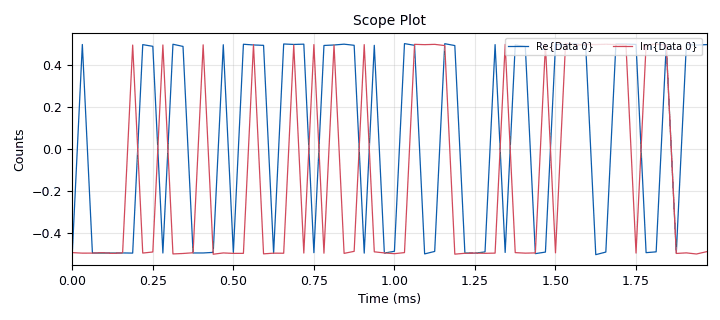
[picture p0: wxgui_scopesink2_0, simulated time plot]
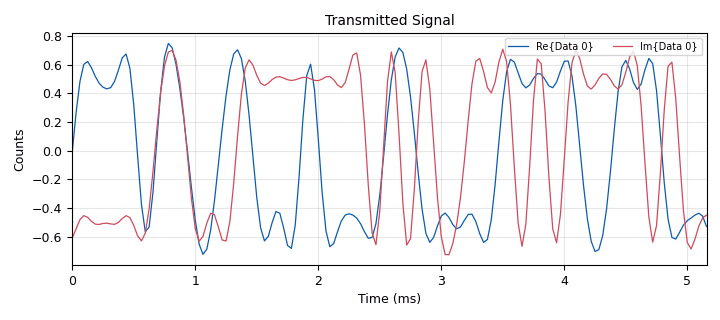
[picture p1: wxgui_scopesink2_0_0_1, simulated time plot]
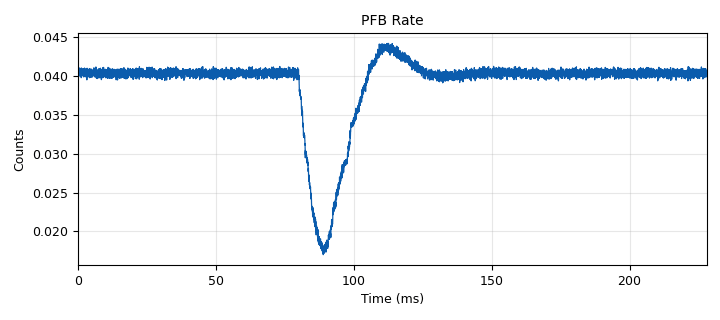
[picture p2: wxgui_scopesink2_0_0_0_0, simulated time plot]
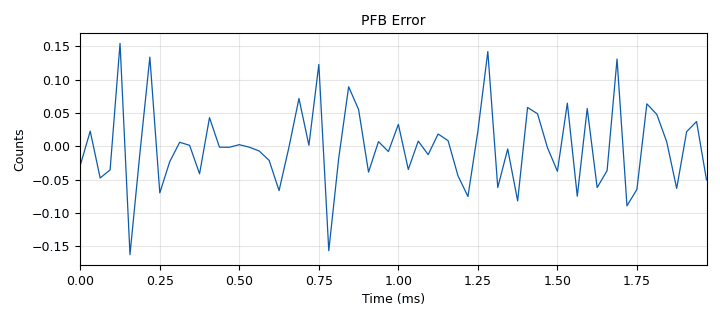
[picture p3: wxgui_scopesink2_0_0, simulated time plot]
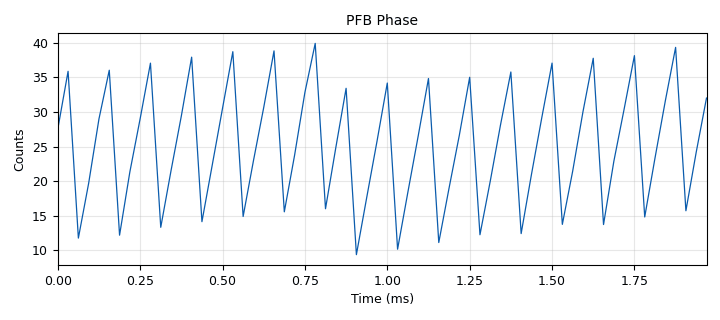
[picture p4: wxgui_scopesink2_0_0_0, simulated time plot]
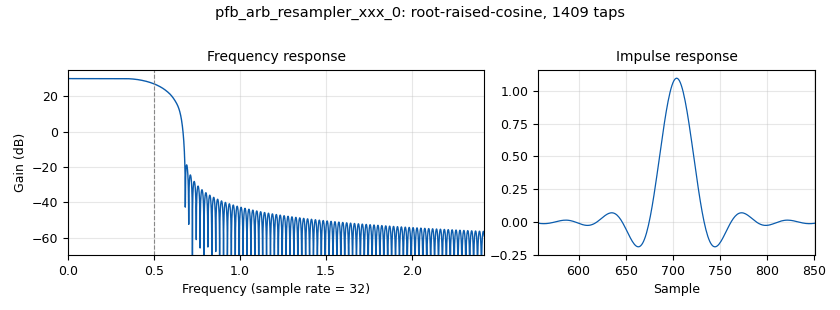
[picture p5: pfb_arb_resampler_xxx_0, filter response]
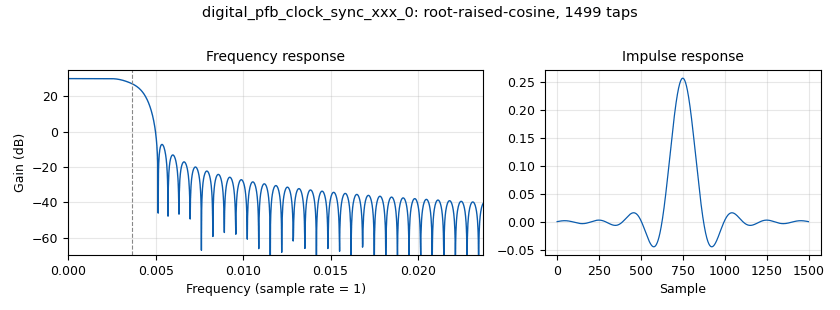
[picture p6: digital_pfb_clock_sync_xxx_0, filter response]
<?xml version='1.0' encoding='utf-8'?>
<flow_graph>
<block>
<key>options</key>
<param><key>id</key><value>pam_timing</value></param>
<param><key>generate_options</key><value>wx_gui</value></param>
<param><key>category</key><value>Custom</value></param>
</block>
<block>
<key>blocks_uchar_to_float</key>
<param><key>id</key><value>blocks_uchar_to_float_0</value></param>
</block>
<block>
<key>blocks_uchar_to_float</key>
<param><key>id</key><value>blocks_uchar_to_float_0_0</value></param>
</block>
<block>
<key>variable_slider</key>
<param><key>id</key><value>freq_offset</value></param>
<param><key>label</key><value>Frequency Offset</value></param>
<param><key>value</key><value>0</value></param>
<param><key>min</key><value>-0.5</value></param>
<param><key>max</key><value>0.5</value></param>
<param><key>num_steps</key><value>1000</value></param>
<param><key>style</key><value>wx.SL_HORIZONTAL</value></param>
<param><key>converver</key><value>float_converter</value></param>
</block>
<block>
<key>random_source_x</key>
<param><key>id</key><value>random_source_x_0</value></param>
<param><key>type</key><value>byte</value></param>
<param><key>min</key><value>0</value></param>
<param><key>max</key><value>pam_amp</value></param>
<param><key>num_samps</key><value>10000</value></param>
<param><key>repeat</key><value>True</value></param>
</block>
<block>
<key>random_source_x</key>
<param><key>id</key><value>random_source_x_0_0</value></param>
<param><key>type</key><value>byte</value></param>
<param><key>min</key><value>0</value></param>
<param><key>max</key><value>pam_amp</value></param>
<param><key>num_samps</key><value>10000</value></param>
<param><key>repeat</key><value>True</value></param>
</block>
<block>
<key>analog_const_source_x</key>
<param><key>id</key><value>analog_const_source_x_0</value></param>
<param><key>type</key><value>float</value></param>
<param><key>const</key><value>-0.5*(pam_amp-1)</value></param>
</block>
<block>
<key>analog_const_source_x</key>
<param><key>id</key><value>analog_const_source_x_0_0</value></param>
<param><key>type</key><value>float</value></param>
<param><key>const</key><value>-0.5*(pam_amp-1)</value></param>
</block>
<block>
<key>notebook</key>
<param><key>id</key><value>notebook_0</value></param>
<param><key>style</key><value>wx.NB_TOP</value></param>
<param><key>labels</key><value>['error', 'phase', 'freq', 'Resampled Signal']</value></param>
</block>
<block>
<key>blocks_add_xx</key>
<param><key>id</key><value>blocks_add_xx_0</value></param>
<param><key>type</key><value>float</value></param>
</block>
<block>
<key>blocks_add_xx</key>
<param><key>id</key><value>blocks_add_xx_0_1</value></param>
<param><key>type</key><value>float</value></param>
</block>
<block>
<key>variable</key>
<param><key>id</key><value>nfilts</value></param>
<param><key>value</key><value>32</value></param>
</block>
<block>
<key>variable_slider</key>
<param><key>id</key><value>noise_amp</value></param>
<param><key>label</key><value>Channel Noise</value></param>
<param><key>value</key><value>0</value></param>
<param><key>min</key><value>0</value></param>
<param><key>max</key><value>1.0</value></param>
<param><key>num_steps</key><value>1000</value></param>
<param><key>style</key><value>wx.SL_HORIZONTAL</value></param>
<param><key>converver</key><value>float_converter</value></param>
</block>
<block>
<key>variable_slider</key>
<param><key>id</key><value>interpratio</value></param>
<param><key>label</key><value>Timing Offset</value></param>
<param><key>value</key><value>1.00</value></param>
<param><key>min</key><value>0.99</value></param>
<param><key>max</key><value>1.01</value></param>
<param><key>num_steps</key><value>1000</value></param>
<param><key>style</key><value>wx.SL_HORIZONTAL</value></param>
<param><key>converver</key><value>float_converter</value></param>
</block>
<block>
<key>variable</key>
<param><key>id</key><value>rrctaps</value></param>
<param><key>value</key><value>firdes.root_raised_cosine(nfilts,1.0,1.0/(spb*nfilts), .35, int(11*spb*nfilts))</value></param>
</block>
<block>
<key>variable</key>
<param><key>id</key><value>spb</value></param>
<param><key>value</key><value>4.2563</value></param>
</block>
<block>
<key>wxgui_scopesink2</key>
<param><key>id</key><value>wxgui_scopesink2_0</value></param>
<param><key>type</key><value>complex</value></param>
<param><key>title</key><value>Scope Plot</value></param>
<param><key>samp_rate</key><value>samp_rate</value></param>
<param><key>v_scale</key><value>0</value></param>
<param><key>v_offset</key><value>0</value></param>
<param><key>t_scale</key><value>0</value></param>
<param><key>ac_couple</key><value>False</value></param>
<param><key>xy_mode</key><value>False</value></param>
<param><key>num_inputs</key><value>1</value></param>
<param><key>trig_mode</key><value>gr.gr_TRIG_MODE_AUTO</value></param>
<param><key>y_axis_label</key><value>Counts</value></param>
</block>
<block>
<key>gr_throttle</key>
<param><key>id</key><value>gr_throttle_0</value></param>
<param><key>type</key><value>complex</value></param>
<param><key>samples_per_second</key><value>samp_rate</value></param>
<param><key>vlen</key><value>1</value></param>
</block>
<block>
<key>channels_channel_model</key>
<param><key>id</key><value>channels_channel_model_0</value></param>
<param><key>noise_voltage</key><value>noise_amp</value></param>
<param><key>freq_offset</key><value>freq_offset</value></param>
<param><key>epsilon</key><value>interpratio</value></param>
<param><key>taps</key><value>1.0</value></param>
<param><key>seed</key><value>0</value></param>
</block>
<block>
<key>blocks_float_to_complex</key>
<param><key>id</key><value>blocks_float_to_complex_0</value></param>
</block>
<block>
<key>pfb_arb_resampler_xxx</key>
<param><key>id</key><value>pfb_arb_resampler_xxx_0</value></param>
<param><key>type</key><value>ccf</value></param>
<param><key>rrate</key><value>spb</value></param>
<param><key>taps</key><value>firdes.root_raised_cosine(32, 32, 1.0, 0.35, 44*32)</value></param>
<param><key>nfilts</key><value>32</value></param>
<param><key>atten</key><value>100</value></param>
</block>
<block>
<key>blocks_multiply_const_vxx</key>
<param><key>id</key><value>blocks_multiply_const_vxx_0</value></param>
<param><key>type</key><value>complex</value></param>
<param><key>const</key><value>sig_amp</value></param>
</block>
<block>
<key>wxgui_scopesink2</key>
<param><key>id</key><value>wxgui_scopesink2_0_0_1</value></param>
<param><key>type</key><value>complex</value></param>
<param><key>title</key><value>Transmitted Signal</value></param>
<param><key>samp_rate</key><value>samp_rate</value></param>
<param><key>v_scale</key><value>.5</value></param>
<param><key>v_offset</key><value>0</value></param>
<param><key>t_scale</key><value>0</value></param>
<param><key>ac_couple</key><value>False</value></param>
<param><key>xy_mode</key><value>False</value></param>
<param><key>num_inputs</key><value>1</value></param>
<param><key>notebook</key><value>notebook_0,3</value></param>
<param><key>trig_mode</key><value>gr.gr_TRIG_MODE_AUTO</value></param>
<param><key>y_axis_label</key><value>Counts</value></param>
</block>
<block>
<key>wxgui_scopesink2</key>
<param><key>id</key><value>wxgui_scopesink2_0_0_0_0</value></param>
<param><key>type</key><value>float</value></param>
<param><key>title</key><value>PFB Rate</value></param>
<param><key>samp_rate</key><value>samp_rate</value></param>
<param><key>v_scale</key><value>1.25</value></param>
<param><key>v_offset</key><value>0</value></param>
<param><key>t_scale</key><value>0</value></param>
<param><key>ac_couple</key><value>False</value></param>
<param><key>xy_mode</key><value>False</value></param>
<param><key>num_inputs</key><value>1</value></param>
<param><key>notebook</key><value>notebook_0,2</value></param>
<param><key>trig_mode</key><value>gr.gr_TRIG_MODE_AUTO</value></param>
<param><key>y_axis_label</key><value>Counts</value></param>
</block>
<block>
<key>wxgui_scopesink2</key>
<param><key>id</key><value>wxgui_scopesink2_0_0</value></param>
<param><key>type</key><value>float</value></param>
<param><key>title</key><value>PFB Error</value></param>
<param><key>samp_rate</key><value>samp_rate</value></param>
<param><key>v_scale</key><value>3</value></param>
<param><key>v_offset</key><value>0</value></param>
<param><key>t_scale</key><value>0</value></param>
<param><key>ac_couple</key><value>False</value></param>
<param><key>xy_mode</key><value>False</value></param>
<param><key>num_inputs</key><value>1</value></param>
<param><key>notebook</key><value>notebook_0,0</value></param>
<param><key>trig_mode</key><value>gr.gr_TRIG_MODE_AUTO</value></param>
<param><key>y_axis_label</key><value>Counts</value></param>
</block>
<block>
<key>wxgui_scopesink2</key>
<param><key>id</key><value>wxgui_scopesink2_0_0_0</value></param>
<param><key>type</key><value>float</value></param>
<param><key>title</key><value>PFB Phase</value></param>
<param><key>samp_rate</key><value>samp_rate</value></param>
<param><key>v_scale</key><value>9</value></param>
<param><key>v_offset</key><value>0</value></param>
<param><key>t_scale</key><value>0</value></param>
<param><key>ac_couple</key><value>False</value></param>
<param><key>xy_mode</key><value>False</value></param>
<param><key>num_inputs</key><value>1</value></param>
<param><key>notebook</key><value>notebook_0,1</value></param>
<param><key>trig_mode</key><value>gr.gr_TRIG_MODE_AUTO</value></param>
<param><key>y_axis_label</key><value>Counts</value></param>
</block>
<block>
<key>variable</key>
<param><key>id</key><value>pam_amp</value></param>
<param><key>value</key><value>2</value></param>
</block>
<block>
<key>variable</key>
<param><key>id</key><value>samp_rate</value></param>
<param><key>value</key><value>32000</value></param>
</block>
<block>
<key>variable</key>
<param><key>id</key><value>sig_amp</value></param>
<param><key>value</key><value>1</value></param>
</block>
<block>
<key>digital_pfb_clock_sync_xxx</key>
<param><key>id</key><value>digital_pfb_clock_sync_xxx_0</value></param>
<param><key>type</key><value>ccf</value></param>
<param><key>sps</key><value>spb</value></param>
<param><key>loop_bw</key><value>loop_bw</value></param>
<param><key>taps</key><value>rrctaps</value></param>
<param><key>filter_size</key><value>nfilts</value></param>
<param><key>init_phase</key><value>nfilts/2</value></param>
<param><key>max_dev</key><value>1.5</value></param>
<param><key>osps</key><value>1</value></param>
</block>
<block>
<key>variable_slider</key>
<param><key>id</key><value>loop_bw</value></param>
<param><key>label</key><value>Loop Bandwidth</value></param>
<param><key>value</key><value>6.28/100.0</value></param>
<param><key>min</key><value>0</value></param>
<param><key>max</key><value>0.2</value></param>
<param><key>num_steps</key><value>1000</value></param>
<param><key>style</key><value>wx.SL_HORIZONTAL</value></param>
<param><key>converver</key><value>float_converter</value></param>
</block>
<connection><source_block_id>random_source_x_0</source_block_id><sink_block_id>blocks_uchar_to_float_0</sink_block_id><source_key>0</source_key><sink_key>0</sink_key></connection>
<connection><source_block_id>blocks_uchar_to_float_0</source_block_id><sink_block_id>blocks_add_xx_0</sink_block_id><source_key>0</source_key><sink_key>0</sink_key></connection>
<connection><source_block_id>analog_const_source_x_0</source_block_id><sink_block_id>blocks_add_xx_0</sink_block_id><source_key>0</source_key><sink_key>1</sink_key></connection>
<connection><source_block_id>blocks_uchar_to_float_0_0</source_block_id><sink_block_id>blocks_add_xx_0_1</sink_block_id><source_key>0</source_key><sink_key>0</sink_key></connection>
<connection><source_block_id>analog_const_source_x_0_0</source_block_id><sink_block_id>blocks_add_xx_0_1</sink_block_id><source_key>0</source_key><sink_key>1</sink_key></connection>
<connection><source_block_id>random_source_x_0_0</source_block_id><sink_block_id>blocks_uchar_to_float_0_0</sink_block_id><source_key>0</source_key><sink_key>0</sink_key></connection>
<connection><source_block_id>blocks_add_xx_0</source_block_id><sink_block_id>blocks_float_to_complex_0</sink_block_id><source_key>0</source_key><sink_key>0</sink_key></connection>
<connection><source_block_id>blocks_add_xx_0_1</source_block_id><sink_block_id>blocks_float_to_complex_0</sink_block_id><source_key>0</source_key><sink_key>1</sink_key></connection>
<connection><source_block_id>blocks_multiply_const_vxx_0</source_block_id><sink_block_id>wxgui_scopesink2_0_0_1</sink_block_id><source_key>0</source_key><sink_key>0</sink_key></connection>
<connection><source_block_id>gr_throttle_0</source_block_id><sink_block_id>digital_pfb_clock_sync_xxx_0</sink_block_id><source_key>0</source_key><sink_key>0</sink_key></connection>
<connection><source_block_id>digital_pfb_clock_sync_xxx_0</source_block_id><sink_block_id>wxgui_scopesink2_0</sink_block_id><source_key>0</source_key><sink_key>0</sink_key></connection>
<connection><source_block_id>digital_pfb_clock_sync_xxx_0</source_block_id><sink_block_id>wxgui_scopesink2_0_0</sink_block_id><source_key>1</source_key><sink_key>0</sink_key></connection>
<connection><source_block_id>digital_pfb_clock_sync_xxx_0</source_block_id><sink_block_id>wxgui_scopesink2_0_0_0_0</sink_block_id><source_key>2</source_key><sink_key>0</sink_key></connection>
<connection><source_block_id>digital_pfb_clock_sync_xxx_0</source_block_id><sink_block_id>wxgui_scopesink2_0_0_0</sink_block_id><source_key>3</source_key><sink_key>0</sink_key></connection>
<connection><source_block_id>channels_channel_model_0</source_block_id><sink_block_id>gr_throttle_0</sink_block_id><source_key>0</source_key><sink_key>0</sink_key></connection>
<connection><source_block_id>blocks_multiply_const_vxx_0</source_block_id><sink_block_id>channels_channel_model_0</sink_block_id><source_key>0</source_key><sink_key>0</sink_key></connection>
<connection><source_block_id>blocks_float_to_complex_0</source_block_id><sink_block_id>pfb_arb_resampler_xxx_0</sink_block_id><source_key>0</source_key><sink_key>0</sink_key></connection>
<connection><source_block_id>pfb_arb_resampler_xxx_0</source_block_id><sink_block_id>blocks_multiply_const_vxx_0</sink_block_id><source_key>0</source_key><sink_key>0</sink_key></connection>
</flow_graph>
